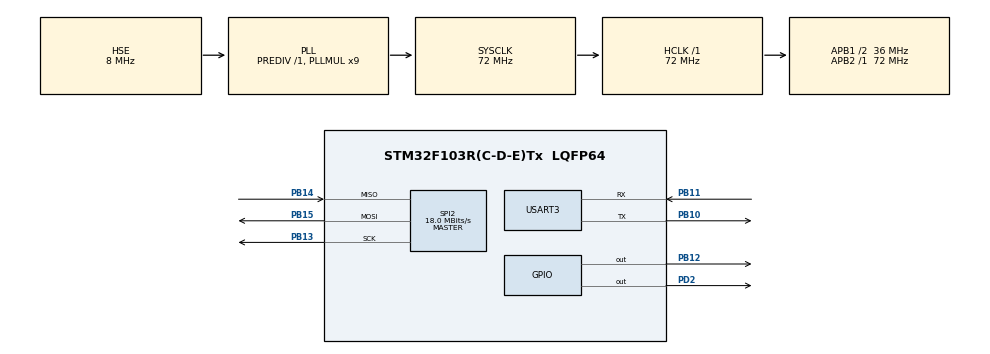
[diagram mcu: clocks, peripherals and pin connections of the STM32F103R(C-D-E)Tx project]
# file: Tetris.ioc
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Mcu.Family=STM32F1
Mcu.Name=STM32F103R(C-D-E)Tx
Mcu.Package=LQFP64
NVIC.PriorityGroup=NVIC_PRIORITYGROUP_4
NVIC.USART3_IRQn=true\:0\:0\:false\:false\:true\:true\:true
PA13.Mode=Serial_Wire
PA13.Signal=SYS_JTMS-SWDIO
PA14.Mode=Serial_Wire
PA14.Signal=SYS_JTCK-SWCLK
PB10.Mode=Asynchronous
PB10.Signal=USART3_TX
PB11.Mode=Asynchronous
PB11.Signal=USART3_RX
PB12.Signal=GPIO_Output
PB13.Mode=Full_Duplex_Master
PB13.Signal=SPI2_SCK
PB14.Mode=Full_Duplex_Master
PB14.Signal=SPI2_MISO
PB15.Mode=Full_Duplex_Master
PB15.Signal=SPI2_MOSI
PD0-OSC_IN.Mode=HSE-External-Oscillator
PD0-OSC_IN.Signal=RCC_OSC_IN
PD1-OSC_OUT.Mode=HSE-External-Oscillator
PD1-OSC_OUT.Signal=RCC_OSC_OUT
PD2.Signal=GPIO_Output
ProjectManager.HeapSize=0x200
ProjectManager.StackSize=0x400
ProjectManager.TargetToolchain=STM32CubeIDE
RCC.AHBFreq_Value=72000000
RCC.APB1CLKDivider=RCC_HCLK_DIV2
RCC.APB1Freq_Value=36000000
RCC.APB1TimFreq_Value=72000000
RCC.APB2Freq_Value=72000000
RCC.APB2TimFreq_Value=72000000
RCC.HCLKFreq_Value=72000000
RCC.PLLMUL=RCC_PLL_MUL9
RCC.PLLSourceVirtual=RCC_PLLSOURCE_HSE
RCC.SYSCLKFreq_VALUE=72000000
RCC.SYSCLKSource=RCC_SYSCLKSOURCE_PLLCLK
RCC.USBFreq_Value=72000000
SPI2.CalculateBaudRate=18.0 MBits/s
SPI2.Direction=SPI_DIRECTION_2LINES
SPI2.Mode=SPI_MODE_MASTER
SPI2.VirtualType=VM_MASTER
USART3.VirtualMode=VM_ASYNC
board=custom

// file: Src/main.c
/* USER CODE BEGIN Header */
/**
  ******************************************************************************
  * @file           : main.c
  * @brief          : Main program body
  ******************************************************************************
  * @attention
  *
  * <h2><center>&copy; Copyright (c) 2019 STMicroelectronics.
  * All rights reserved.</center></h2>
  *
  * This software component is licensed by ST under BSD 3-Clause license,
  * the "License"; You may not use this file except in compliance with the
  * License. You may obtain a copy of the License at:
  *                        opensource.org/licenses/BSD-3-Clause
  *
  ******************************************************************************
  */
/* USER CODE END Header */

#include "main.h"
#include "spi.h"
#include "usart.h"
#include "gpio.h"

/* USER CODE BEGIN PV */

// ------------------------ 도트매트릭스 CS PIN ----------------------------//
#define CS_HIGH			LL_GPIO_SetOutputPin(GPIOB, LL_GPIO_PIN_12)
#define CS_LOW			LL_GPIO_ResetOutputPin(GPIOB, LL_GPIO_PIN_12)
// -------------------------------------------------------------------- //

uint8_t digit[4];
uint8_t buf[8];

// ------------------------ 게임 관련 변수 ------------------------ //
uint8_t right_shock_flag = 0;	// 오른쪽 충돌 flag
uint8_t left_shock_flag = 0;	// 왼쪽 충돌 flag
uint8_t down_shock_flag = 0;
uint8_t digit_num = 1;		// 초기 도트매트릭스 위치
uint8_t x = 3, y = 0;		// 초기 상태 x축, y축 위치
uint8_t rotate = 0;			// 초기 블럭 회전상태
uint8_t newBlockNum = 0;	// 새로운 블럭

// ------------------------ USART 출력 변수 ------------------------ //
extern uint8_t rx_data;
extern uint8_t rx_flag;
// ------------------------------------------------------------- //

//------------------------ 게임 판 현재 상태 저장 ---------------------- //
uint8_t playPlace[16][8] = {
	{0x80, 0, 0, 0, 0, 0, 0, 0x80},		// DIGIT 1
	{0, 0, 0, 0, 0, 0, 0, 0},
	{0, 0, 0, 0, 0, 0, 0, 0},
	{0, 0, 0, 0, 0, 0, 0, 0},
	{0, 0, 0, 0, 0, 0, 0, 0},
	{0, 0, 0, 0, 0, 0, 0, 0},
	{0, 0, 0, 0, 0, 0, 0, 0},
	{0x01, 0, 0, 0, 0, 0, 0, 0x01},
	{0, 0, 0, 0, 0, 0, 0, 0},		// DIGIT 0, 1
	{0, 0, 0, 0, 0, 0, 0, 0},
	{0, 0, 0, 0, 0, 0, 0, 0},
	{0, 0, 0, 0, 0, 0, 0, 0},
	{0, 0, 0, 0, 0, 0, 0, 0},
	{0, 0, 0, 0, 0, 0, 0, 0},
	{0, 0, 0, 0, 0, 0, 0, 0},
	{0x01, 0, 0, 0, 0, 0, 0, 0x01}
};

// ------------------------ [블럭모양] [위치] 임시 저장 변수 ------------------------ //
uint8_t blockCopy[4][9];

// ------------------------ [블럭모양] [회전번호] [위치] 블럭 저장 ------------------------ //
uint8_t BLOCK[7][4][9] = {
	{
		{	0x01, 0x03, 0x02, 0x00, 0x00, 0x00, 0x00, 0x00	},
		{	0x06, 0x03, 0x00, 0x00, 0x00, 0x00, 0x00, 0x00	},
		{	0x01, 0x03, 0x02, 0x00, 0x00, 0x00, 0x00, 0x00	},
		{	0x06, 0x03, 0x00, 0x00, 0x00, 0x00, 0x00, 0x00	}
	}, //
	{
		{	0x03, 0x03, 0x00, 0x00, 0x00, 0x00, 0x00, 0x00	},
		{	0x03, 0x03, 0x00, 0x00, 0x00, 0x00, 0x00, 0x00	},
		{	0x03, 0x03, 0x00, 0x00, 0x00, 0x00, 0x00, 0x00	},
		{	0x03, 0x03, 0x00, 0x00, 0x00, 0x00, 0x00, 0x00	}
	},//
	{
		{	0x02, 0x03, 0x01, 0x00, 0x00, 0x00, 0x00, 0x00	},
		{	0x03, 0x06, 0x00, 0x00, 0x00, 0x00, 0x00, 0x00	},
		{	0x02, 0x03, 0x01, 0x00, 0x00, 0x00, 0x00, 0x00	},
		{	0x03, 0x06, 0x00, 0x00, 0x00, 0x00, 0x00, 0x00	}
	},//
	{
		{	0x01, 0x01, 0x01, 0x01, 0x00, 0x00, 0x00, 0x00	},
		{	0x0f, 0x00, 0x00, 0x00, 0x00, 0x00, 0x00, 0x00	},
		{	0x01, 0x01, 0x01, 0x01, 0x00, 0x00, 0x00, 0x00	},
		{	0x0f, 0x00, 0x00, 0x00, 0x00, 0x00, 0x00, 0x00	}
	},//
	{
		{	0x01, 0x07, 0x00, 0x00, 0x00, 0x00, 0x00, 0x00	},
		{	0x02, 0x02, 0x03, 0x00, 0x00, 0x00, 0x00, 0x00	},
		{	0x07, 0x04, 0x00, 0x00, 0x00, 0x00, 0x00, 0x00	},
		{	0x03, 0x01, 0x01, 0x00, 0x00, 0x00, 0x00, 0x00	}
	}, // ?��
	{
		{	0x07, 0x01, 0x00, 0x00, 0x00, 0x00, 0x00, 0x00	},
		{	0x03, 0x02, 0x02, 0x00, 0x00, 0x00, 0x00, 0x00	},
		{	0x04, 0x07, 0x00, 0x00, 0x00, 0x00, 0x00, 0x00	},
		{	0x01, 0x01, 0x03, 0x00, 0x00, 0x00, 0x00, 0x00	}
	}, // ?��
	{
		{	0x02, 0x03, 0x02, 0x00, 0x00, 0x00, 0x00, 0x00	},
		{	0x07, 0x02, 0x00, 0x00, 0x00, 0x00, 0x00, 0x00	},
		{	0x02, 0x06, 0x02, 0x00, 0x00, 0x00, 0x00, 0x00	},
		{	0x02, 0x07, 0x00, 0x00, 0x00, 0x00, 0x00, 0x00	}
	}
};

/* USER CODE END PV */

void SystemClock_Config(void);
/* USER CODE BEGIN PFP */

// ------------------------ printf 사용 ------------------------ //
int _write(int file, char* pi, int len)
{
	for(int i=0; i<len; i++)
	{
		LL_USART_TransmitData8(USART3, *(pi+i));
		HAL_Delay(1);
	}

	return len;
}

// ------------------------ MAX7219 사용 함수 START ------------------------ //
// MAX7219 Initiallize
void max7219Init(void)
{
	max7219SendToAll(0x0B, 0x07);		// Scan Limit
	max7219SendToAll(0x09, 0x00);		// Decode Mode
	max7219SendToAll(0x0C, 0x01);		// ShutDown Register (Normal Operation)
	max7219SendToAll(0x0A, 0x00);		// Intensity (0x00 ~ 0x0F)
	max7219SendToAll(0x0F, 0x00);		// Display (Turns all LED on)
}

// MAX7219 Clear
void max7219Clear(void)
{
	for(int i=1; i<9; i++)		max7219SendToAll(i, 0);
}

// MAX7219 Send Data (one shot)
void max7219Send(uint8_t ADDR, uint8_t Data)
{
	CS_LOW;
	LL_SPI_TransmitData8(SPI2, ADDR);
	LL_SPI_TransmitData8(SPI2, Data);
	CS_HIGH;
}

// MAX7219 Send Data (Multi shot : 총 4개)
void max7219SendToAll(uint8_t ADDR, uint8_t data)
{
	CS_LOW;
	for(int i=0; i<4; i++)
	{
		LL_SPI_TransmitData8(SPI2, ADDR);
		LL_SPI_TransmitData8(SPI2, data);
	}
	CS_HIGH;
}

// MAX7219 Send Data (특정 데이터를 원하는 위치에 출력하기 위함)
// *buf는 buf[<Digit 위치>] = Data
void max7219SendDataPos(uint8_t ADDR, uint8_t *buf)
{
	uint8_t buffer = 0;
	CS_LOW;
	for(int i=0; i<4; i++)
	{
		buffer = *buf;
		LL_SPI_TransmitData8(SPI2, ADDR);
		LL_SPI_TransmitData8(SPI2, buffer);
		*buf++;
	}
	CS_HIGH;
}
// ------------------------ MAX7219 사용 함수 END ------------------------ //

// ------------------------ 테트리스 Play 관련 함수 ------------------------ //
//현재 전체 디스플레이
void playPlaceDisplay(void)
{
	  // 적재된 블럭포함한 전체 놀이판 디스플레이
	  for(int i=0; i<8; i++)
	  {
		  for(int j=0; j<16; j++)	  digit[j/8] |= 0xFF & playPlace[j][i];
	  	  max7219SendDataPos(i+1, digit);
	  	  digit[0] = 0;
	  	  digit[1] = 0;
	  	  digit[2] = 0;
	  	  digit[3] = 0;
	  }
}

// 좌, 우측 충돌 체크
void shockCheck(uint8_t dir)
{
	if(dir == 1)		// 왼쪽 체크
	{
		if(buf[digit_num] > 0)	left_shock_flag = 1;
		else					left_shock_flag = 0;
//			  printf("left:%d, right:%d\n", left_shock_flag, right_shock_flag);
	}
	else if(dir == 0)				// 오른쪽 체크
	{
		if(buf[digit_num] > 0)	right_shock_flag = 1;
		else					right_shock_flag = 0;
//			  printf("left:%d, right:%d\n", left_shock_flag, right_shock_flag);
	}
}

/* USER CODE END PFP */

int main(void)
{

  /* MCU Configuration--------------------------------------------------------*/

  /* Reset of all peripherals, Initializes the Flash interface and the Systick. */
  HAL_Init();

  /* Configure the system clock */
  SystemClock_Config();

  /* Initialize all configured peripherals */
  MX_GPIO_Init();
  MX_SPI2_Init();
  MX_USART3_UART_Init();
  /* USER CODE BEGIN 2 */
  LL_SPI_Enable(SPI2);
  LL_USART_EnableIT_RXNE(USART3);

  max7219Init();
  HAL_Delay(1000);
  max7219Clear();
  /* USER CODE END 2 */

  /* Infinite loop */
  /* USER CODE BEGIN WHILE */
  printf("EXAMPLE TETRIS\r\n");
  uint8_t temp_y = 0;
  while (1)
  {
    /* USER CODE END WHILE */

    /* USER CODE BEGIN 3 */

	  // 블럭 이동과 위치 디스플레이
	  for(int i=0; i<9; i++)
	  {
		  uint8_t a;

		  int k = i-x;			// x축 이동 변수
		  if(k < 0)	k = -1;		// 0보다 작을때 unsigned -> 255가 되는 현상을 방지하기 위한 조치
		  blockCopy[rotate][i] = BLOCK[newBlockNum][rotate][i];		//현재 생성된 블럭을 복사

		  buf[digit_num] = blockCopy[rotate][k]<<y;		// 출력할 buf에 블럭을 복사 + y축

		  if(i == 0)	shockCheck(1);		// x축 좌측 충돌 확인
		  if(i == 7)	shockCheck(0);		// x축 우측 충돌 확인
		  if(i == 8)
		  {
			  a = i-x;
			  while(buf[digit_num] != 0)	// 회전하여 넘어간 경우
			  {
				  for(int i=0; i<9; i++)
				  {
					  buf[digit_num] = blockCopy[rotate][i-a]<<y;
				  }
				  x--;
			  }
		  }
		  if(buf[digit_num] > 128)
		  {
			  buf[digit_num-1] = blockCopy[rotate][k]>>(temp_y<<1);		// 블럭을 하단 블럭으로 이동
		  }

		  printf("buf=%d    y=%d    ", buf[digit_num], y);

		  max7219SendDataPos(i+1, buf);

		  buf[0] = 0;
		  buf[1] = 0;
		  buf[2] = 0;
		  buf[3] = 0;

		  HAL_Delay(30);
	  }
	  printf("\n");

	  // 키보드를 이용한 블럭 위치 조정
	  if(rx_flag)
	  {
		  max7219Clear();
		  rx_flag = 0;
		  switch(rx_data)
		  {
		  	  case 97:	if(!left_shock_flag)		x--;		break;	// 좌측 이동
		  	  case 100:	if(!right_shock_flag)		x++;		break;	// 우측 이동
		  	  case 101:	rotate++;  if(rotate == 4)	rotate = 0;	break;	// 회전
		  	  case 119:	y--;									break;	// 위 이동
		  	  case 115:	y++;									break;	// 아래 이동
		  	  case 113:	for(int i=0; i<8; i++)	blockCopy[rotate][i] = 0;  newBlockNum++;
		  	  	  	  	break;	//블럭 변경
		  	  default:	break;
		  }
	  }
  }
  /* USER CODE END 3 */
}

void SystemClock_Config(void)
{
  RCC_OscInitTypeDef RCC_OscInitStruct = {0};
  RCC_ClkInitTypeDef RCC_ClkInitStruct = {0};

  /** Initializes the CPU, AHB and APB busses clocks
  */
  RCC_OscInitStruct.OscillatorType = RCC_OSCILLATORTYPE_HSE;
  RCC_OscInitStruct.HSEState = RCC_HSE_ON;
  RCC_OscInitStruct.HSEPredivValue = RCC_HSE_PREDIV_DIV1;
  RCC_OscInitStruct.HSIState = RCC_HSI_ON;
  RCC_OscInitStruct.PLL.PLLState = RCC_PLL_ON;
  RCC_OscInitStruct.PLL.PLLSource = RCC_PLLSOURCE_HSE;
  RCC_OscInitStruct.PLL.PLLMUL = RCC_PLL_MUL9;
  if (HAL_RCC_OscConfig(&RCC_OscInitStruct) != HAL_OK)
  {
    Error_Handler();
  }
  /** Initializes the CPU, AHB and APB busses clocks
  */
  RCC_ClkInitStruct.ClockType = RCC_CLOCKTYPE_HCLK|RCC_CLOCKTYPE_SYSCLK
                              |RCC_CLOCKTYPE_PCLK1|RCC_CLOCKTYPE_PCLK2;
  RCC_ClkInitStruct.SYSCLKSource = RCC_SYSCLKSOURCE_PLLCLK;
  RCC_ClkInitStruct.AHBCLKDivider = RCC_SYSCLK_DIV1;
  RCC_ClkInitStruct.APB1CLKDivider = RCC_HCLK_DIV2;
  RCC_ClkInitStruct.APB2CLKDivider = RCC_HCLK_DIV1;

  if (HAL_RCC_ClockConfig(&RCC_ClkInitStruct, FLASH_LATENCY_2) != HAL_OK)
  {
    Error_Handler();
  }
}

void Error_Handler(void)
{
}

/************************ (C) COPYRIGHT STMicroelectronics *****END OF FILE****/
